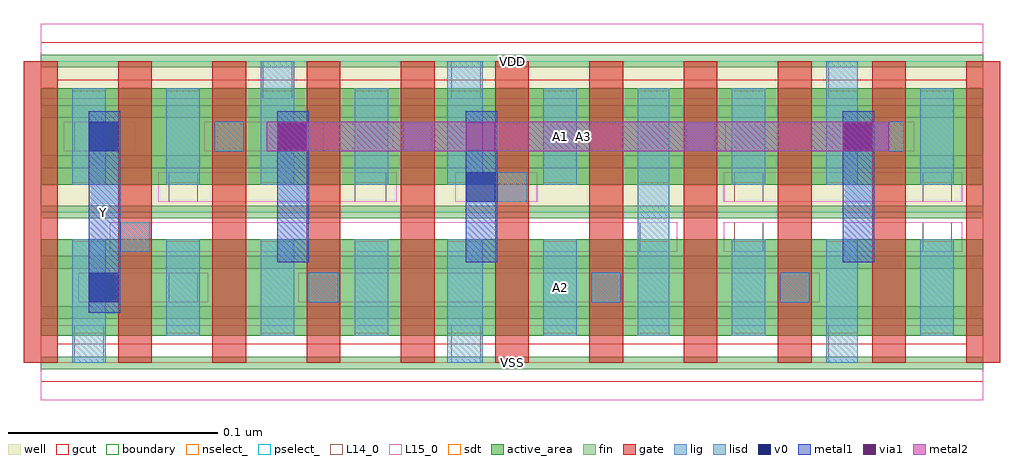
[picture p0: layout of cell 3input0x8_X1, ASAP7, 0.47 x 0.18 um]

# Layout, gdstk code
import gdstk
lib = gdstk.Library(unit=1e-6, precision=1e-09)
def R(c, l, rs):  # rectangles x0, y0, x1, y1
    for r in rs: c.add(gdstk.rectangle(r[:2], r[2:], *l))
def A(c, l, x, y, w, h, nx, ny, dx, dy):  # array of equal rectangles
    R(c, l, [(x+i*dx, y+j*dy, x+i*dx+w, y+j*dy+h) for i in range(nx) for j in range(ny)])
def P(c, l, *ps):  # polygons
    for p in ps: c.add(gdstk.Polygon(p, *l))
well = (1, 0)
fin = (2, 0)
gate = (7, 0)
gcut = (10, 0)
active_area = (11, 0)
nselect_ = (12, 0)
pselect_ = (13, 0)
L14_0 = (14, 0)
L15_0 = (15, 0)
lig = (16, 0)
lisd = (17, 0)
v0 = (18, 0)
metal1 = (19, 0)
metal2 = (20, 0)
via1 = (21, 0)
sdt = (88, 0)
boundary = (100, 0)

c_3input0x8_x1 = lib.new_cell('3input0x8_X1')
R(c_3input0x8_x1, well, [(0,0.072,0.45,0.144)])
A(c_3input0x8_x1, fin, 0, -0.003, 0.45, 0.006, 1, 7, 0, 0.024)
A(c_3input0x8_x1, gate, -0.008, 0, 0.016, 0.144, 11, 1, 0.045, 0)
P(c_3input0x8_x1, gcut, [(0,-0.009),(0,0),(-0.008,0),(-0.008,0.135),(0.008,0.135),(0.008,0.009),(0.442,0.009),(0.442,0.135),(-0.008,0.135),(-0.008,0.144),(0,0.144),(0,0.153),(0.45,0.153),(0.45,0.144),(0.458,0.144),(0.458,0),(0.45,0),(0.45,-0.009)])
R(c_3input0x8_x1, active_area, [(0,0.013,0.45,0.059), (0,0.085,0.45,0.131)])
R(c_3input0x8_x1, nselect_, [(0,0,0.45,0.072)])
R(c_3input0x8_x1, pselect_, [(0,0.072,0.45,0.144)])
A(c_3input0x8_x1, L14_0, 0.016, 0, 0.014, 0.018, 3, 1, 0.18, 0)
R(c_3input0x8_x1, L14_0, [(0.061,0.029,0.075,0.043), (0.128,0.029,0.142,0.043), (0.263,0.029,0.277,0.043), (0.353,0.029,0.367,0.043), (0.038,0.053,0.052,0.067), (0.286,0.053,0.3,0.067), (0.331,0.053,0.345,0.067), (0.421,0.053,0.435,0.067), (0.061,0.077,0.075,0.091), (0.15,0.077,0.165,0.091), (0.218,0.077,0.232,0.091), (0.331,0.077,0.345,0.091), (0.421,0.077,0.435,0.091), (0.016,0.101,0.03,0.115), (0.083,0.101,0.097,0.115), (0.173,0.101,0.187,0.115), (0.308,0.101,0.322,0.115), (0.398,0.101,0.412,0.115), (0.106,0.126,0.12,0.144), (0.196,0.126,0.21,0.144), (0.376,0.126,0.39,0.144)])
R(c_3input0x8_x1, L15_0, [(0,-0.018,0.45,0.018), (0.018,0.029,0.08,0.043), (0.123,0.029,0.372,0.043), (0.033,0.053,0.304,0.067), (0.326,0.053,0.44,0.067), (0.056,0.077,0.17,0.091), (0.198,0.077,0.237,0.091), (0.326,0.077,0.44,0.091), (0.011,0.101,0.045,0.115), (0.078,0.101,0.135,0.115), (0.168,0.101,0.327,0.115), (0.378,0.101,0.417,0.115), (0,0.126,0.45,0.162)])
R(c_3input0x8_x1, lig, [(0.128,0.029,0.142,0.043), (0.263,0.029,0.277,0.043), (0.353,0.029,0.367,0.043), (0.038,0.053,0.052,0.067), (0.218,0.077,0.232,0.091), (0.083,0.101,0.097,0.115), (0.173,0.101,0.187,0.115), (0.308,0.101,0.322,0.115), (0.398,0.101,0.412,0.115)])
A(c_3input0x8_x1, lisd, 0.06, 0.013, 0.016, 0.046, 3, 1, 0.045, 0)
A(c_3input0x8_x1, lisd, 0.24, 0.013, 0.016, 0.046, 3, 1, 0.09, 0)
A(c_3input0x8_x1, lisd, 0.06, 0.085, 0.016, 0.046, 5, 1, 0.09, 0)
R(c_3input0x8_x1, lisd, [(0.015,0,0.031,0.059), (0.194,0,0.211,0.059), (0.375,0,0.39,0.059), (0.285,0.013,0.3,0.131), (0.015,0.085,0.031,0.131), (0.105,0.085,0.121,0.144), (0.194,0.085,0.211,0.144), (0.375,0.085,0.39,0.144)])
R(c_3input0x8_x1, v0, [(0.023,0.029,0.037,0.043), (0.203,0.077,0.217,0.091), (0.023,0.101,0.037,0.115), (0.113,0.101,0.127,0.115), (0.383,0.101,0.397,0.115)])
R(c_3input0x8_x1, metal1, [(0.023,0.024,0.038,0.12), (0.113,0.048,0.128,0.12), (0.203,0.048,0.218,0.12), (0.383,0.048,0.398,0.12)])
R(c_3input0x8_x1, metal2, [(0.108,0.101,0.405,0.115)])
R(c_3input0x8_x1, via1, [(0.113,0.101,0.127,0.115), (0.203,0.101,0.217,0.115), (0.383,0.101,0.397,0.115)])
A(c_3input0x8_x1, sdt, 0.015, 0.014, 0.016, 0.044, 4, 2, 0.045, 0.072)
A(c_3input0x8_x1, sdt, 0.24, 0.014, 0.016, 0.044, 3, 2, 0.09, 0.072)
R(c_3input0x8_x1, sdt, [(0.194,0.014,0.211,0.058), (0.285,0.014,0.3,0.058), (0.375,0.014,0.39,0.058), (0.194,0.086,0.211,0.13), (0.285,0.086,0.3,0.13), (0.375,0.086,0.39,0.13)])
R(c_3input0x8_x1, boundary, [(0,0,0.45,0.144)])
c_3input0x8_x1.add(gdstk.Label('VSS', (0.225,0), layer=15, texttype=251))
c_3input0x8_x1.add(gdstk.Label('VDD', (0.225,0.144), layer=15, texttype=251))
c_3input0x8_x1.add(gdstk.Label('A1', (0.248,0.108), layer=15, texttype=251))
c_3input0x8_x1.add(gdstk.Label('VSS', (0.225,0), layer=15, texttype=251))
c_3input0x8_x1.add(gdstk.Label('VDD', (0.225,0.144), layer=15, texttype=251))
c_3input0x8_x1.add(gdstk.Label('VSS', (0.225,0), layer=15, texttype=251))
c_3input0x8_x1.add(gdstk.Label('VDD', (0.225,0.144), layer=15, texttype=251))
c_3input0x8_x1.add(gdstk.Label('A2', (0.248,0.036), layer=15, texttype=251))
c_3input0x8_x1.add(gdstk.Label('VSS', (0.225,0), layer=15, texttype=251))
c_3input0x8_x1.add(gdstk.Label('VDD', (0.225,0.144), layer=15, texttype=251))
c_3input0x8_x1.add(gdstk.Label('VSS', (0.225,0), layer=3, texttype=251))
c_3input0x8_x1.add(gdstk.Label('VSS', (0.225,0), layer=3, texttype=251))
c_3input0x8_x1.add(gdstk.Label('VSS', (0.225,0), layer=3, texttype=251))
c_3input0x8_x1.add(gdstk.Label('VSS', (0.225,0), layer=3, texttype=251))
c_3input0x8_x1.add(gdstk.Label('VDD', (0.225,0.144), layer=1, texttype=251))
c_3input0x8_x1.add(gdstk.Label('VDD', (0.225,0.144), layer=1, texttype=251))
c_3input0x8_x1.add(gdstk.Label('VDD', (0.225,0.144), layer=1, texttype=251))
c_3input0x8_x1.add(gdstk.Label('VDD', (0.225,0.144), layer=1, texttype=251))
c_3input0x8_x1.add(gdstk.Label('A3', (0.259,0.108), layer=20, texttype=251))
c_3input0x8_x1.add(gdstk.Label('Y', (0.03,0.072), layer=19, texttype=251))

lib.write_gds('3input0x8_X1.gds')
